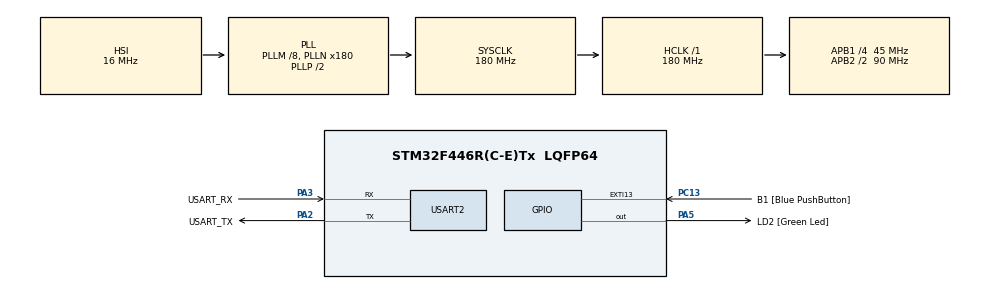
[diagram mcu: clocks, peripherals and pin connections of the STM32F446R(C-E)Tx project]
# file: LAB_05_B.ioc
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Dma.Request0=USART2_RX
Dma.Request1=USART2_TX
Dma.USART2_RX.0.Direction=DMA_PERIPH_TO_MEMORY
Dma.USART2_RX.0.FIFOMode=DMA_FIFOMODE_DISABLE
Dma.USART2_RX.0.Instance=DMA1_Stream5
Dma.USART2_RX.0.MemDataAlignment=DMA_MDATAALIGN_BYTE
Dma.USART2_RX.0.MemInc=DMA_MINC_ENABLE
Dma.USART2_RX.0.Mode=DMA_NORMAL
Dma.USART2_RX.0.PeriphDataAlignment=DMA_PDATAALIGN_BYTE
Dma.USART2_RX.0.PeriphInc=DMA_PINC_DISABLE
Dma.USART2_RX.0.Priority=DMA_PRIORITY_LOW
Dma.USART2_TX.1.Direction=DMA_MEMORY_TO_PERIPH
Dma.USART2_TX.1.FIFOMode=DMA_FIFOMODE_DISABLE
Dma.USART2_TX.1.Instance=DMA1_Stream6
Dma.USART2_TX.1.MemDataAlignment=DMA_MDATAALIGN_BYTE
Dma.USART2_TX.1.MemInc=DMA_MINC_ENABLE
Dma.USART2_TX.1.Mode=DMA_NORMAL
Dma.USART2_TX.1.PeriphDataAlignment=DMA_PDATAALIGN_BYTE
Dma.USART2_TX.1.PeriphInc=DMA_PINC_DISABLE
Dma.USART2_TX.1.Priority=DMA_PRIORITY_LOW
Mcu.Family=STM32F4
Mcu.Name=STM32F446R(C-E)Tx
Mcu.Package=LQFP64
NVIC.DMA1_Stream5_IRQn=true\:0\:0\:false\:false\:true\:false\:true\:true
NVIC.DMA1_Stream6_IRQn=true\:0\:0\:false\:false\:true\:false\:true\:true
NVIC.PriorityGroup=NVIC_PRIORITYGROUP_0
NVIC.USART2_IRQn=true\:0\:0\:false\:false\:true\:true\:true\:true
PA13.GPIO_Label=TMS
PA13.Mode=Serial_Wire
PA13.Signal=SYS_JTMS-SWDIO
PA14.GPIO_Label=TCK
PA14.Mode=Serial_Wire
PA14.Signal=SYS_JTCK-SWCLK
PA2.GPIO_Label=USART_TX
PA2.Mode=Asynchronous
PA2.Signal=USART2_TX
PA3.GPIO_Label=USART_RX
PA3.Mode=Asynchronous
PA3.Signal=USART2_RX
PA5.GPIO_Label=LD2 [Green Led]
PA5.Signal=GPIO_Output
PB3.GPIO_Label=SWO
PB3.Signal=SYS_JTDO-SWO
PC13.GPIO_Label=B1 [Blue PushButton]
PC13.GPIO_ModeDefaultEXTI=GPIO_MODE_IT_FALLING
PC13.Signal=GPXTI13
PC14-OSC32_IN.Mode=LSE-External-Oscillator
PC14-OSC32_IN.Signal=RCC_OSC32_IN
PC15-OSC32_OUT.Mode=LSE-External-Oscillator
PC15-OSC32_OUT.Signal=RCC_OSC32_OUT
PH0-OSC_IN.Mode=HSE-External-Oscillator
PH0-OSC_IN.Signal=RCC_OSC_IN
PH1-OSC_OUT.Mode=HSE-External-Oscillator
PH1-OSC_OUT.Signal=RCC_OSC_OUT
ProjectManager.HeapSize=0x200
ProjectManager.StackSize=0x400
ProjectManager.TargetToolchain=STM32CubeIDE
RCC.48MHZClocksFreq_Value=84000000
RCC.AHBFreq_Value=180000000
RCC.APB1CLKDivider=RCC_HCLK_DIV4
RCC.APB1Freq_Value=45000000
RCC.APB1TimFreq_Value=90000000
RCC.APB2CLKDivider=RCC_HCLK_DIV2
RCC.APB2Freq_Value=90000000
RCC.APB2TimFreq_Value=180000000
RCC.CortexFreq_Value=180000000
RCC.FLatency-AdvancedSettings=FLASH_LATENCY_5
RCC.HCLKFreq_Value=180000000
RCC.HSE_VALUE=8000000
RCC.HSI_VALUE=16000000
RCC.PLLM=8
RCC.PLLN=180
RCC.SYSCLKFreq_VALUE=180000000
RCC.SYSCLKSource=RCC_SYSCLKSOURCE_PLLCLK
RCC.USBFreq_Value=180000000
RCC.VCOOutputFreq_Value=360000000
USART2.VirtualMode=VM_ASYNC
board=NUCLEO-F446RE

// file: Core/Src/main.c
/* USER CODE BEGIN Header */
/**
  ******************************************************************************
  * @file           : main.c
  * @brief          : Main program body
  ******************************************************************************
  * @attention
  *
  * Copyright (c) 2026 STMicroelectronics.
  * All rights reserved.
  *
  * This software is licensed under terms that can be found in the LICENSE file
  * in the root directory of this software component.
  * If no LICENSE file comes with this software, it is provided AS-IS.
  *
  ******************************************************************************
  */
/* USER CODE END Header */
#include "main.h"

/* USER CODE BEGIN Includes */
#include <string.h>
/* USER CODE END Includes */

UART_HandleTypeDef huart2;
DMA_HandleTypeDef hdma_usart2_tx;
DMA_HandleTypeDef hdma_usart2_rx;

/* USER CODE BEGIN PV */
#define RX_BUF_SIZE 64
uint8_t rxBuf [ RX_BUF_SIZE ];
volatile uint8_t txDone = 1;
/* USER CODE END PV */

void SystemClock_Config(void);
static void MX_GPIO_Init(void);
static void MX_DMA_Init(void);
static void MX_USART2_UART_Init(void);

/* USER CODE BEGIN 0 */
/* Called when DMA TX transfer finishes */
void HAL_UART_TxCpltCallback (UART_HandleTypeDef* huart) {
	if (huart->Instance == USART2) txDone = 1;
}

/* Called when DMA RX fills the full buffer */
void HAL_UART_RxCpltCallback (UART_HandleTypeDef* huart) {
	if (huart->Instance == USART2 ) {
		HAL_UART_Transmit_DMA (&huart2, rxBuf, RX_BUF_SIZE); /* echo */
		HAL_UART_Receive_DMA (&huart2, rxBuf, RX_BUF_SIZE); /* re-arm */
	}
}
/* USER CODE END 0 */

int main(void)
{

  /* MCU Configuration--------------------------------------------------------*/

  /* Reset of all peripherals, Initializes the Flash interface and the Systick. */
  HAL_Init();

  /* Configure the system clock */
  SystemClock_Config();

  /* Initialize all configured peripherals */
  MX_GPIO_Init();
  MX_DMA_Init();
  MX_USART2_UART_Init();
  /* USER CODE BEGIN 2 */
  const char* hello = "HAL DMA UART Demo -- send 64 bytes\r\n";
  /* Non - blocking DMA transmit */
  while (!txDone);
  txDone = 0;
  HAL_UART_Transmit_DMA (&huart2, (uint8_t*)hello, strlen(hello));

  /* Start background DMA receive (64 bytes per cycle) */
  HAL_UART_Receive_DMA (&huart2, rxBuf, RX_BUF_SIZE);
  /* USER CODE END 2 */

  /* Infinite loop */
  while (1)
  {

    /* USER CODE BEGIN 3 */
	  /* CPU is free ; callbacks handle all data movement */
	  HAL_PWR_EnterSLEEPMode (PWR_MAINREGULATOR_ON, PWR_SLEEPENTRY_WFI);
  }
  /* USER CODE END 3 */
}

void SystemClock_Config(void)
{
  RCC_OscInitTypeDef RCC_OscInitStruct = {0};
  RCC_ClkInitTypeDef RCC_ClkInitStruct = {0};

  /** Configure the main internal regulator output voltage
  */
  __HAL_RCC_PWR_CLK_ENABLE();
  __HAL_PWR_VOLTAGESCALING_CONFIG(PWR_REGULATOR_VOLTAGE_SCALE1);

  /** Initializes the RCC Oscillators according to the specified parameters
  * in the RCC_OscInitTypeDef structure.
  */
  RCC_OscInitStruct.OscillatorType = RCC_OSCILLATORTYPE_HSI;
  RCC_OscInitStruct.HSIState = RCC_HSI_ON;
  RCC_OscInitStruct.HSICalibrationValue = RCC_HSICALIBRATION_DEFAULT;
  RCC_OscInitStruct.PLL.PLLState = RCC_PLL_ON;
  RCC_OscInitStruct.PLL.PLLSource = RCC_PLLSOURCE_HSI;
  RCC_OscInitStruct.PLL.PLLM = 8;
  RCC_OscInitStruct.PLL.PLLN = 180;
  RCC_OscInitStruct.PLL.PLLP = RCC_PLLP_DIV2;
  RCC_OscInitStruct.PLL.PLLQ = 2;
  RCC_OscInitStruct.PLL.PLLR = 2;
  if (HAL_RCC_OscConfig(&RCC_OscInitStruct) != HAL_OK)
  {
    Error_Handler();
  }

  /** Activate the Over-Drive mode
  */
  if (HAL_PWREx_EnableOverDrive() != HAL_OK)
  {
    Error_Handler();
  }

  /** Initializes the CPU, AHB and APB buses clocks
  */
  RCC_ClkInitStruct.ClockType = RCC_CLOCKTYPE_HCLK|RCC_CLOCKTYPE_SYSCLK
                              |RCC_CLOCKTYPE_PCLK1|RCC_CLOCKTYPE_PCLK2;
  RCC_ClkInitStruct.SYSCLKSource = RCC_SYSCLKSOURCE_PLLCLK;
  RCC_ClkInitStruct.AHBCLKDivider = RCC_SYSCLK_DIV1;
  RCC_ClkInitStruct.APB1CLKDivider = RCC_HCLK_DIV4;
  RCC_ClkInitStruct.APB2CLKDivider = RCC_HCLK_DIV2;

  if (HAL_RCC_ClockConfig(&RCC_ClkInitStruct, FLASH_LATENCY_5) != HAL_OK)
  {
    Error_Handler();
  }
}

static void MX_USART2_UART_Init(void)
{

  huart2.Instance = USART2;
  huart2.Init.BaudRate = 115200;
  huart2.Init.WordLength = UART_WORDLENGTH_8B;
  huart2.Init.StopBits = UART_STOPBITS_1;
  huart2.Init.Parity = UART_PARITY_NONE;
  huart2.Init.Mode = UART_MODE_TX_RX;
  huart2.Init.HwFlowCtl = UART_HWCONTROL_NONE;
  huart2.Init.OverSampling = UART_OVERSAMPLING_16;
  if (HAL_UART_Init(&huart2) != HAL_OK)
  {
    Error_Handler();
  }

}

static void MX_DMA_Init(void)
{

  /* DMA controller clock enable */
  __HAL_RCC_DMA1_CLK_ENABLE();

  /* DMA interrupt init */
  /* DMA1_Stream5_IRQn interrupt configuration */
  HAL_NVIC_SetPriority(DMA1_Stream5_IRQn, 0, 0);
  HAL_NVIC_EnableIRQ(DMA1_Stream5_IRQn);
  /* DMA1_Stream6_IRQn interrupt configuration */
  HAL_NVIC_SetPriority(DMA1_Stream6_IRQn, 0, 0);
  HAL_NVIC_EnableIRQ(DMA1_Stream6_IRQn);

}

static void MX_GPIO_Init(void)
{

  /* GPIO Ports Clock Enable */
  __HAL_RCC_GPIOA_CLK_ENABLE();

}

void Error_Handler(void)
{
  __disable_irq();
  while (1)
  {
  }
}
